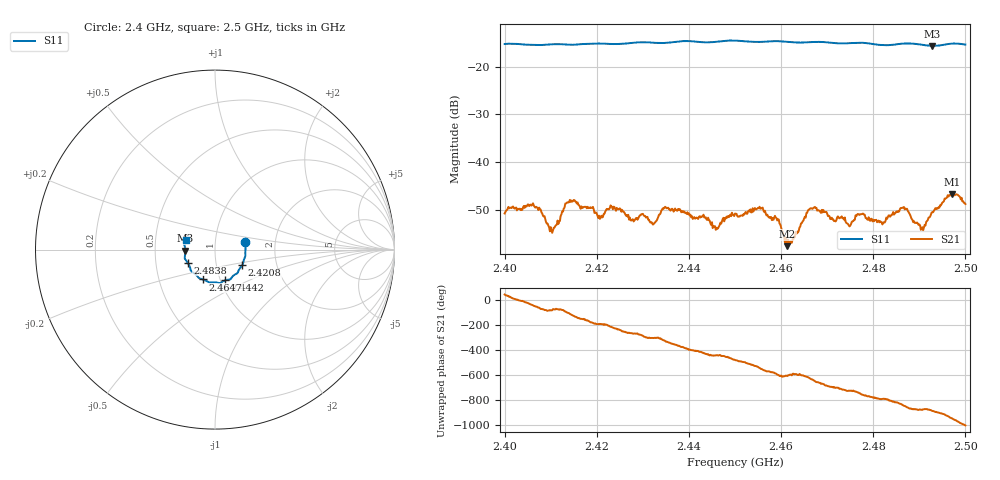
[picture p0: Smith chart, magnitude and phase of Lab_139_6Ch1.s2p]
# Hz S RI R 50
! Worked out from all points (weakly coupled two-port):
!   601 points, 2.4 GHz to 2.5 GHz, reference 50 ohm
!   highest |S21| = -46.74 dB at 2.4972 GHz (marker M1); lowest = -57.6 dB at 2.4613 GHz (marker M2)
!   lowest |S11| = -15.6 dB at 2.4928 GHz (marker M3), VSWR 1.40, Z = 35.8 - j0.378 ohm
!   |S11| at or under -10 dB: start of sweep to end of sweep
!   S12 and S22 are empty: the file has one direction only
!   S11 on the Smith chart (normalised r, x): 2.4 GHz: 1.40, +0.12; 2.4208 GHz: 1.33, -0.24; 2.4442 GHz: 1.05, -0.37; 2.4647 GHz: 0.83, -0.29; 2.4838 GHz: 0.73, -0.11; 2.5 GHz: 0.72, +0.08
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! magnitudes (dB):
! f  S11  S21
! 2.4 GHz  -15.2  -50.8
! 2.406 GHz  -15.4  -48.9
! 2.4103 GHz  -15.3  -54.8
! 2.4137 GHz  -15.3  -48.4
! 2.4167 GHz  -15.3  -49.3
! 2.4208 GHz  -15.1  -51.6
! 2.4333 GHz  -15.0  -51.5
! 2.4442 GHz  -14.9  -51.7
! 2.45 GHz  -14.5  -50.8
! 2.4557 GHz  -14.8  -49.7
! 2.4592 GHz  -14.6  -52.2
! 2.4613 GHz  -14.8  -57.6
! 2.4647 GHz  -14.9  -52.4
! 2.4667 GHz  -14.8  -49.7
! 2.4747 GHz  -15.1  -53.2
! 2.4833 GHz  -15.5  -51.2
! 2.4838 GHz  -15.4  -51.2
! 2.4868 GHz  -15.1  -49.9
! 2.4908 GHz  -15.4  -54.3
! 2.4928 GHz  -15.6  -50.5
! 2.4972 GHz  -15.1  -46.7
! 2.5 GHz  -15.3  -48.8
